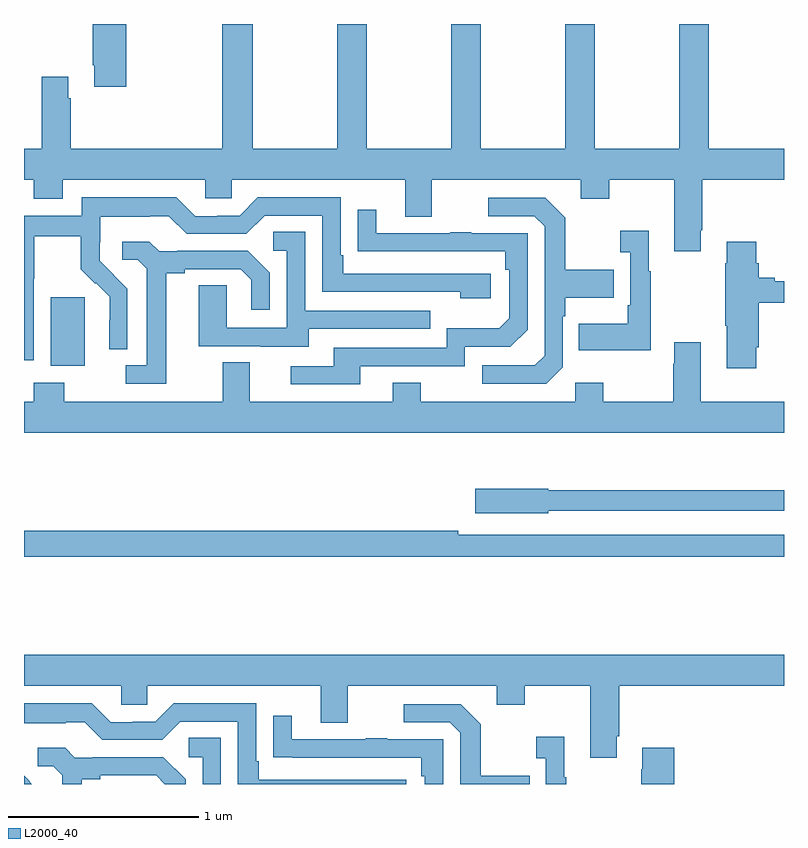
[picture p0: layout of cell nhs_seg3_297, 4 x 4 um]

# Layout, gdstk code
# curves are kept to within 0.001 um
import gdstk
lib = gdstk.Library(unit=1e-6, precision=1e-09)
def R(c, l, rs):  # rectangles x0, y0, x1, y1
    for r in rs: c.add(gdstk.rectangle(r[:2], r[2:], *l))
def P(c, l, *ps):  # polygons
    for p in ps: c.add(gdstk.Polygon(p, *l))
L2000_40 = (2000, 40)

nhs_seg3_297 = lib.new_cell('nhs_seg3_297')
R(nhs_seg3_297, L2000_40, [(125.141,702.602,125.32,702.963)])
P(nhs_seg3_297, L2000_40, [(125.537,704.4),(125.362,704.4),(125.362,704.182),(125.369,704.182),(125.369,704.07),(125.537,704.07)],
  [(128.563,703.315),(128.571,703.315),(128.571,703.58),(129,703.58),(129,703.744),(128.604,703.744),(128.604,704.4),(128.449,704.4),(128.449,703.744),(128.004,703.744),(128.004,704.4),(127.849,704.4),(127.849,703.744),(127.404,703.744),(127.404,704.4),(127.249,704.4),(127.249,703.744),(126.804,703.744),(126.804,704.4),(126.649,704.4),(126.649,703.744),(126.204,703.744),(126.204,704.4),(126.044,704.4),(126.044,703.744),(125.246,703.744),(125.246,704.009),(125.233,704.009),(125.233,704.122),(125.093,704.122),(125.093,703.744),(125,703.744),(125,703.58),(125.051,703.58),(125.051,703.481),(125.203,703.481),(125.203,703.58),(125.955,703.58),(125.955,703.482),(126.093,703.482),(126.093,703.58),(127.007,703.58),(127.007,703.386),(127.147,703.386),(127.147,703.58),(127.931,703.58),(127.931,703.481),(128.079,703.481),(128.079,703.58),(128.423,703.58),(128.423,703.203),(128.563,703.203)],
  [(125.052,703.06),(125.055,703.06),(125.055,703.284),(125.299,703.284),(125.299,703.109),(125.376,703.032),(125.379,703.035),(125.45,702.965),(125.45,702.842),(125.448,702.842),(125.448,702.688),(125.544,702.688),(125.544,703.006),(125.398,703.154),(125.398,703.251),(125.4,703.251),(125.4,703.385),(125.663,703.385),(125.663,703.389),(125.763,703.389),(125.856,703.296),(126.171,703.296),(126.267,703.392),(126.57,703.392),(126.57,702.99),(127.295,702.99),(127.295,702.956),(127.456,702.956),(127.456,703.086),(126.679,703.086),(126.679,703.183),(126.666,703.183),(126.666,703.488),(126.231,703.488),(126.135,703.392),(126.017,703.392),(126.017,703.389),(125.901,703.389),(125.801,703.489),(125.304,703.489),(125.304,703.392),(125,703.392),(125,702.631),(125.052,702.631)],
  [(127.836,702.594),(127.836,702.863),(127.849,702.863),(127.849,702.959),(128.105,702.959),(128.105,703.107),(127.849,703.107),(127.849,703.379),(127.743,703.485),(127.443,703.485),(127.443,703.389),(127.686,703.389),(127.74,703.335),(127.74,702.654),(127.689,702.603),(127.413,702.603),(127.413,702.507),(127.749,702.507)],
  [(126.769,702.6),(127.32,702.6),(127.32,702.702),(127.56,702.702),(127.65,702.792),(127.65,703.299),(127.355,703.299),(127.355,703.304),(127.243,703.304),(127.243,703.299),(126.853,703.299),(126.853,703.423),(126.757,703.423),(126.757,703.204),(127.534,703.203),(127.534,703.106),(127.554,703.106),(127.554,702.852),(127.501,702.799),(127.224,702.799),(127.224,702.696),(126.629,702.696),(126.629,702.6),(126.405,702.6),(126.405,702.504),(126.769,702.504)],
  [(128.299,703.099),(128.287,703.099),(128.287,703.312),(128.139,703.312),(128.139,703.199),(128.19,703.199),(128.19,702.919),(128.178,702.919),(128.178,702.823),(127.921,702.823),(127.921,702.683),(128.299,702.683)],
  [(126.499,702.795),(127.139,702.795),(127.139,702.891),(126.48,702.891),(126.48,703.307),(126.312,703.307),(126.312,703.206),(126.384,703.206),(126.384,702.801),(126.066,702.801),(126.066,703.025),(125.921,703.025),(125.921,702.705),(126.245,702.705),(126.245,702.701),(126.499,702.701)],
  [(125.749,703.088),(125.845,703.088),(125.845,703.11),(126.14,703.11),(126.197,703.053),(126.197,702.897),(126.294,702.897),(126.294,703.09),(126.178,703.206),(125.806,703.206),(125.806,703.203),(125.712,703.203),(125.66,703.255),(125.517,703.255),(125.517,703.158),(125.598,703.158),(125.645,703.111),(125.645,702.603),(125.535,702.603),(125.535,702.507),(125.749,702.507)],
  [(128.854,702.7),(128.867,702.7),(128.867,702.932),(129,702.932),(129,703.045),(128.95,703.045),(128.95,703.064),(128.867,703.064),(128.867,703.142),(128.854,703.142),(128.854,703.255),(128.699,703.255),(128.699,703.142),(128.692,703.142),(128.692,702.811),(128.699,702.811),(128.699,702.588),(128.854,702.588)],
  [(129,702.412),(128.563,702.412),(128.563,702.724),(128.423,702.724),(128.423,702.611),(128.416,702.611),(128.416,702.412),(128.049,702.412),(128.049,702.511),(127.902,702.511),(127.902,702.412),(127.089,702.412),(127.089,702.511),(126.941,702.511),(126.941,702.412),(126.187,702.412),(126.187,702.62),(126.047,702.62),(126.047,702.412),(125.211,702.412),(125.211,702.511),(125.051,702.511),(125.051,702.412),(125,702.412),(125,702.248),(129,702.248)],
  [(127.758,701.838),(129,701.838),(129,701.947),(127.758,701.947),(127.758,701.955),(127.374,701.955),(127.374,701.825),(127.758,701.825)],
  [(129,701.712),(127.286,701.712),(127.286,701.732),(125,701.732),(125,701.596),(129,701.596)],
  [(128.119,700.651),(128.132,700.651),(128.132,700.916),(129,700.916),(129,701.08),(125,701.08),(125,700.916),(125.511,700.916),(125.511,700.818),(125.649,700.818),(125.649,700.916),(126.563,700.916),(126.563,700.722),(126.703,700.722),(126.703,700.916),(127.487,700.916),(127.487,700.817),(127.635,700.817),(127.635,700.916),(127.979,700.916),(127.979,700.539),(128.119,700.539)],
  [(127.012,700.422),(126.235,700.422),(126.235,700.519),(126.222,700.519),(126.222,700.824),(125.787,700.824),(125.691,700.728),(125.573,700.728),(125.573,700.725),(125.457,700.725),(125.357,700.825),(125,700.825),(125,700.721),(125.219,700.721),(125.219,700.725),(125.319,700.725),(125.412,700.632),(125.727,700.632),(125.823,700.728),(126.126,700.728),(126.126,700.4),(127.012,700.4)],
  [(127.661,700.443),(127.405,700.443),(127.405,700.715),(127.299,700.821),(126.999,700.821),(126.999,700.725),(127.242,700.725),(127.296,700.671),(127.296,700.4),(127.661,700.4)],
  [(127.206,700.635),(126.911,700.635),(126.911,700.64),(126.799,700.64),(126.799,700.635),(126.409,700.635),(126.409,700.759),(126.313,700.759),(126.313,700.54),(126.415,700.54),(126.415,700.539),(127.09,700.539),(127.09,700.442),(127.11,700.442),(127.11,700.4),(127.206,700.4)],
  [(127.855,700.435),(127.843,700.435),(127.843,700.648),(127.695,700.648),(127.695,700.535),(127.746,700.535),(127.746,700.4),(127.855,700.4)],
  [(126.036,700.643),(125.868,700.643),(125.868,700.542),(125.94,700.542),(125.94,700.4),(126.036,700.4)],
  [(125.305,700.424),(125.401,700.424),(125.401,700.446),(125.696,700.446),(125.742,700.4),(125.85,700.4),(125.85,700.426),(125.734,700.542),(125.362,700.542),(125.362,700.539),(125.268,700.539),(125.216,700.591),(125.073,700.591),(125.073,700.494),(125.154,700.494),(125.201,700.447),(125.201,700.4),(125.305,700.4)],
  [(128.423,700.591),(128.255,700.591),(128.255,700.478),(128.248,700.478),(128.248,700.4),(128.423,700.4)],
  [(125.027,700.415),(125.028,700.416),(125,700.444),(125,700.4),(125.042,700.4)])

lib.write_gds('nhs_seg3_297.gds')
